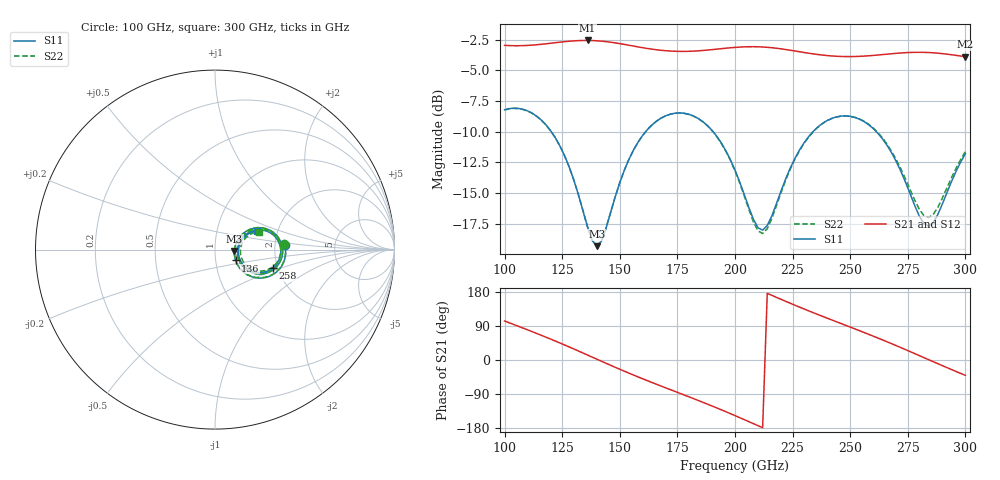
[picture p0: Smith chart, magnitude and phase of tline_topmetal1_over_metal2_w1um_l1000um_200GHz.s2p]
#  GHZ S DB R 50
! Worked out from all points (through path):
!   101 points, 100 GHz to 300 GHz, reference 50 ohm
!   highest |S21| = -2.56 dB at 136 GHz (marker M1); lowest = -3.9 dB at 300 GHz (marker M2)
!   group delay of S21, straight-line fit = 6.98 ps
!   lowest |S11| = -19.3 dB at 140 GHz (marker M3), VSWR 1.24, Z = 62.1 - j1.03 ohm
!   |S11| at or under -10 dB: 120.3 GHz to 161.2 GHz (40.96 GHz wide, 29.1 % of centre); 190.5 GHz to 233.8 GHz (43.33 GHz wide, 20.4 % of centre); 261.4 GHz to end of sweep
!   |S22| runs from -19.3 to -8.1 dB; largest |S21 - S12| = 8.6e-14
!   S11 on the Smith chart (normalised r, x): 100 GHz: 2.26, +0.14; 136 GHz: 1.25, -0.15; 258 GHz: 1.88, -0.43; 300 GHz: 1.57, +0.35
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100  -8.21 3.8  -2.96 103.0  -2.96 103.0  -8.23 4.3
110  -8.30 -13.3  -2.97 79.5  -2.97 79.5  -8.32 -12.8
118  -9.45 -26.4  -2.83 60.1  -2.83 60.1  -9.46 -25.9
126  -11.94 -36.6  -2.66 39.8  -2.66 39.8  -11.95 -36.2
134  -16.43 -34.1  -2.57 18.5  -2.57 18.5  -16.42 -33.6
136  -17.77 -27.8  -2.56 13.1  -2.56 13.1  -17.75 -27.3
140  -19.33 -4.4  -2.59 2.2  -2.59 2.2  -19.29 -4.0
154  -12.24 29.0  -2.95 -34.8  -2.95 -34.8  -12.23 29.1
168  -8.88 10.5  -3.36 -68.9  -3.36 -68.9  -8.89 10.6
184  -8.91 -14.9  -3.41 -106.7  -3.41 -106.7  -8.93 -14.9
192  -10.35 -26.3  -3.27 -126.3  -3.27 -126.3  -10.37 -26.4
200  -13.12 -32.6  -3.13 -146.7  -3.13 -146.7  -13.19 -32.9
212  -18.02 -1.0  -3.10 -178.7  -3.10 -178.7  -18.29 -0.5
222  -13.84 26.6  -3.30 154.9  -3.30 154.9  -13.95 28.2
234  -9.97 17.7  -3.66 124.8  -3.66 124.8  -9.99 19.1
246  -8.73 0.3  -3.87 96.3  -3.87 96.3  -8.73 1.8
258  -9.42 -17.6  -3.81 67.8  -3.81 67.8  -9.39 -15.8
268  -11.72 -29.2  -3.64 43.0  -3.64 43.0  -11.61 -26.8
276  -15.05 -28.3  -3.54 22.2  -3.54 22.2  -14.72 -25.5
284  -17.69 -1.8  -3.55 1.0  -3.55 1.0  -17.00 -1.3
292  -14.96 23.3  -3.68 -20.1  -3.68 -20.1  -14.57 21.4
300  -11.79 23.7  -3.89 -40.5  -3.89 -40.5  -11.62 22.0
